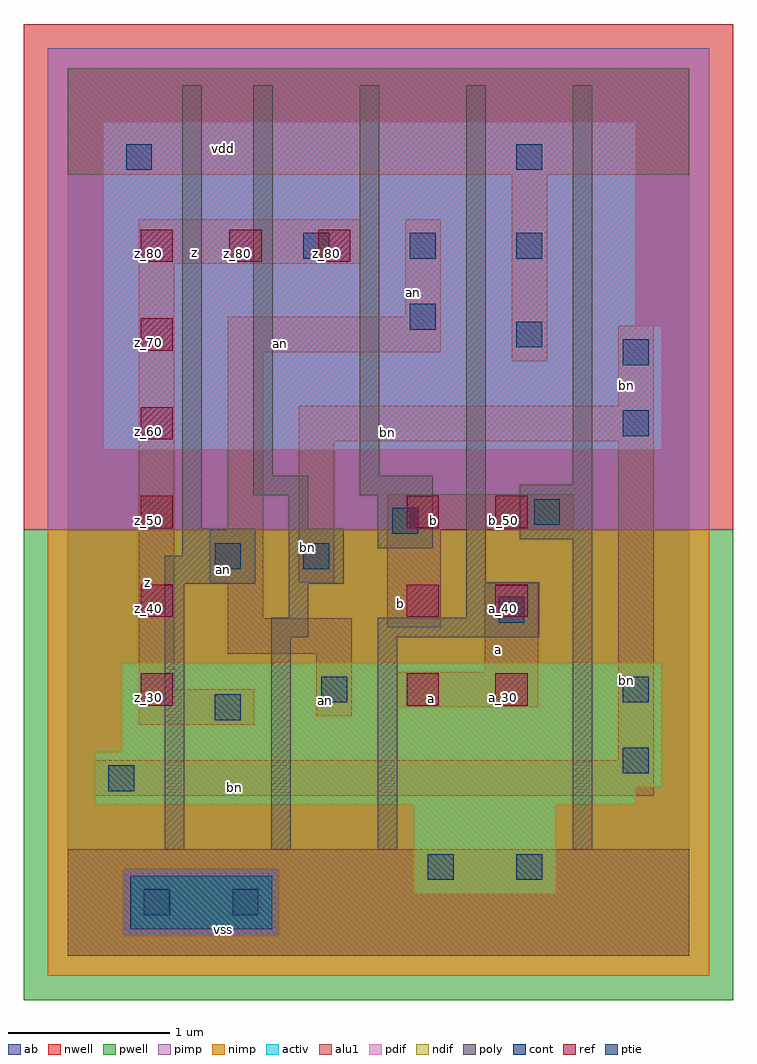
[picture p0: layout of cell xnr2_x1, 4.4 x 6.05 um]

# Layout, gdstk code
import gdstk
lib = gdstk.Library(unit=1e-6, precision=2.5e-09)
def R(c, l, rs):  # rectangles x0, y0, x1, y1
    for r in rs: c.add(gdstk.rectangle(r[:2], r[2:], *l))
def A(c, l, x, y, w, h, nx, ny, dx, dy):  # array of equal rectangles
    R(c, l, [(x+i*dx, y+j*dy, x+i*dx+w, y+j*dy+h) for i in range(nx) for j in range(ny)])
ndif = (3, 0)
pdif = (4, 0)
ptie = (6, 0)
ref = (24, 0)
cont = (25, 0)
pwell = (41, 0)
nwell = (42, 0)
activ = (43, 0)
pimp = (44, 0)
nimp = (45, 0)
poly = (46, 0)
alu1 = (49, 0)
ab = (63, 0)

xnr2_x1 = lib.new_cell('xnr2_x1')
R(xnr2_x1, ndif, [(2.145,0.385,3.025,0.935), (0.165,0.935,3.52,1.045), (0.165,1.045,3.685,1.265), (0.33,1.265,3.685,1.815)])
R(xnr2_x1, pdif, [(0.22,3.135,3.685,3.905), (0.22,3.905,3.52,5.17)])
R(xnr2_x1, ptie, [(0.385,0.165,1.265,0.495)])
A(xnr2_x1, ref, 0.45, 1.55, 0.2, 0.2, 1, 5, 0, 0.55)
A(xnr2_x1, ref, 2.1, 1.55, 0.2, 0.2, 1, 3, 0, 0.55)
A(xnr2_x1, ref, 2.65, 1.55, 0.2, 0.2, 1, 3, 0, 0.55)
A(xnr2_x1, ref, 0.45, 4.3, 0.2, 0.2, 3, 1, 0.55, 0)
A(xnr2_x1, cont, 1.46, 4.32, 0.16, 0.16, 3, 1, 0.66, 0)
R(xnr2_x1, cont, [(0.47,0.25,0.63,0.41), (1.02,0.25,1.18,0.41), (2.23,0.47,2.39,0.63), (2.78,0.47,2.94,0.63), (0.25,1.02,0.41,1.18), (3.44,1.13,3.6,1.29), (0.91,1.46,1.07,1.62), (1.57,1.57,1.73,1.73), (3.44,1.57,3.6,1.73), (2.67,2.065,2.83,2.225), (0.91,2.395,1.07,2.555), (1.46,2.395,1.62,2.555), (2.01,2.615,2.17,2.775), (2.89,2.67,3.05,2.83), (3.44,3.22,3.6,3.38), (3.44,3.66,3.6,3.82), (2.78,3.77,2.94,3.93), (2.12,3.88,2.28,4.04), (0.36,4.87,0.52,5.03), (2.78,4.87,2.94,5.03)])
R(xnr2_x1, pwell, [(-0.275,-0.275,4.125,2.64)])
R(xnr2_x1, nwell, [(-0.275,2.64,4.125,5.775)])
R(xnr2_x1, activ, [(0.385,0.165,1.265,0.495), (2.145,0.385,3.025,0.935), (0.165,0.935,3.52,1.045), (0.165,1.045,3.685,1.265), (0.33,1.265,3.685,1.815), (0.22,3.135,3.685,3.905), (0.22,3.905,3.52,5.17)])
R(xnr2_x1, pimp, [(0.345,0.125,1.305,0.535), (-0.125,2.64,3.975,5.625)])
R(xnr2_x1, nimp, [(-0.125,-0.125,3.975,0.125), (-0.125,0.125,0.345,0.535), (1.305,0.125,3.975,0.535), (-0.125,0.535,3.975,2.64)])
R(xnr2_x1, poly, [(0.6,0.655,0.72,2.305), (1.26,0.655,1.38,1.975), (1.92,0.655,2.04,1.975), (3.13,0.655,3.25,2.58), (1.26,1.975,1.49,2.095), (1.92,1.975,2.92,2.095), (1.37,2.095,1.49,2.305), (2.47,2.095,2.92,2.315), (0.6,2.305,1.16,2.48), (1.37,2.305,1.71,2.645), (2.47,2.315,2.59,5.395), (0.71,2.48,1.16,2.645), (1.92,2.525,2.26,2.855), (2.8,2.58,3.25,2.92), (0.71,2.645,0.83,5.395), (1.37,2.645,1.49,2.855), (1.15,2.855,1.49,2.975), (1.81,2.855,2.26,2.975), (3.13,2.92,3.25,5.395), (1.15,2.975,1.27,5.395), (1.81,2.975,1.93,5.395)])
R(xnr2_x1, alu1, [(0,0,3.85,0.66), (0.165,0.99,3.63,1.21), (3.41,1.21,3.63,3.19), (0.44,1.43,1.155,1.65), (1.54,1.485,1.76,1.87), (2.035,1.54,2.915,1.76), (0.44,1.65,0.66,4.29), (2.585,1.76,2.915,2.31), (0.99,1.87,1.76,2.09), (1.98,2.035,2.31,2.64), (0.99,2.09,1.21,2.31), (0.88,2.31,1.21,2.64), (1.43,2.31,1.65,3.19), (0.99,2.64,1.21,3.74), (1.98,2.64,3.135,2.86), (1.43,3.19,3.63,3.41), (3.41,3.41,3.63,3.905), (2.75,3.685,2.97,4.84), (0.99,3.74,2.31,3.96), (2.09,3.96,2.31,4.565), (0.44,4.29,1.815,4.565), (0,4.84,3.85,5.5)])
R(xnr2_x1, ab, [(0,0,3.85,5.5)])
xnr2_x1.add(gdstk.Label('vss', (0.9625,0.165), layer=49, texttype=0))
xnr2_x1.add(gdstk.Label('bn', (1.03,1.045), layer=49, texttype=0))
xnr2_x1.add(gdstk.Label('bn', (3.465,1.705), layer=49, texttype=0))
xnr2_x1.add(gdstk.Label('a', (2.255,1.595), layer=49, texttype=0))
xnr2_x1.add(gdstk.Label('a', (2.6675,1.8975), layer=49, texttype=0))
xnr2_x1.add(gdstk.Label('an', (1.595,1.58), layer=49, texttype=0))
xnr2_x1.add(gdstk.Label('b', (2.0625,2.185), layer=49, texttype=0))
xnr2_x1.add(gdstk.Label('b', (2.2675,2.695), layer=49, texttype=0))
xnr2_x1.add(gdstk.Label('bn', (1.485,2.53), layer=49, texttype=0))
xnr2_x1.add(gdstk.Label('bn', (1.98,3.245), layer=49, texttype=0))
xnr2_x1.add(gdstk.Label('an', (0.9625,2.3925), layer=49, texttype=0))
xnr2_x1.add(gdstk.Label('bn', (3.465,3.5325), layer=49, texttype=0))
xnr2_x1.add(gdstk.Label('an', (1.32,3.795), layer=49, texttype=0))
xnr2_x1.add(gdstk.Label('an', (2.145,4.11), layer=49, texttype=0))
xnr2_x1.add(gdstk.Label('z', (0.495,2.31), layer=49, texttype=0))
xnr2_x1.add(gdstk.Label('z', (0.7825,4.3575), layer=49, texttype=0))
xnr2_x1.add(gdstk.Label('vdd', (0.9625,5.005), layer=49, texttype=0))
xnr2_x1.add(gdstk.Label('z_70', (0.5,3.8), layer=24, texttype=0))
xnr2_x1.add(gdstk.Label('z_30', (0.5,1.6), layer=24, texttype=0))
xnr2_x1.add(gdstk.Label('z_40', (0.5,2.15), layer=24, texttype=0))
xnr2_x1.add(gdstk.Label('z_50', (0.5,2.7), layer=24, texttype=0))
xnr2_x1.add(gdstk.Label('z_60', (0.5,3.25), layer=24, texttype=0))
xnr2_x1.add(gdstk.Label('z_80', (1.6,4.35), layer=24, texttype=0))
xnr2_x1.add(gdstk.Label('a_30', (2.7,1.6), layer=24, texttype=0))
xnr2_x1.add(gdstk.Label('a_40', (2.7,2.15), layer=24, texttype=0))
xnr2_x1.add(gdstk.Label('b_40', (2.15,2.15), layer=24, texttype=0))
xnr2_x1.add(gdstk.Label('b_50', (2.15,2.7), layer=24, texttype=0))
xnr2_x1.add(gdstk.Label('b_50', (2.7,2.7), layer=24, texttype=0))
xnr2_x1.add(gdstk.Label('a_30', (2.15,1.6), layer=24, texttype=0))
xnr2_x1.add(gdstk.Label('z_80', (1.05,4.35), layer=24, texttype=0))
xnr2_x1.add(gdstk.Label('z_80', (0.5,4.35), layer=24, texttype=0))

lib.write_gds('xnr2_x1.gds')
